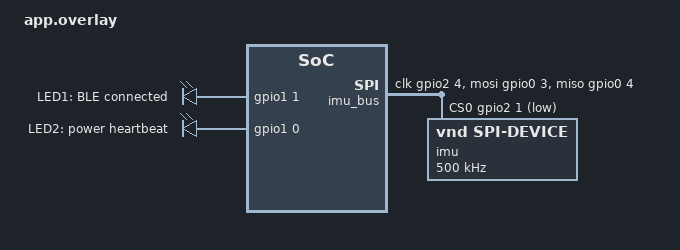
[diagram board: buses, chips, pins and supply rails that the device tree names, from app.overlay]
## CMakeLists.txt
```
cmake_minimum_required(VERSION 3.20.0)
find_package(Zephyr REQUIRED HINTS $ENV{ZEPHYR_BASE})
project(iot_dice_v2)
target_sources(app PRIVATE src/main.cpp src/lsm6dsv320x.cpp src/ble_orient.cpp src/dice_fsm.cpp)
target_link_libraries(app PUBLIC m)
```

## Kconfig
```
mainmenu "IoT Dice v2"
source "Kconfig.zephyr"

config DICE_IMU
    bool
    default y
    select HAS_STMEMSC
    select USE_STDC_LSM6DSV320X
```

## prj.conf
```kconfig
CONFIG_CPP=y
CONFIG_GPIO=y
CONFIG_SPI=y
CONFIG_SPI_BITBANG=y
CONFIG_CLOCK_CONTROL_NRF_K32SRC_RC=y
CONFIG_CLOCK_CONTROL_NRF_K32SRC_RC_CALIBRATION=y
CONFIG_CLOCK_CONTROL_NRF_K32SRC_500PPM=y
CONFIG_NRF_APPROTECT_DISABLE=y

CONFIG_BT=y
CONFIG_BT_PERIPHERAL=y
CONFIG_BT_DEVICE_NAME="dice"
CONFIG_BT_MAX_CONN=1
CONFIG_BT_L2CAP_TX_MTU=120
CONFIG_BT_BUF_ACL_RX_SIZE=126
CONFIG_BT_BUF_ACL_TX_SIZE=126
CONFIG_BT_USER_PHY_UPDATE=y

CONFIG_CONSOLE=y
CONFIG_PRINTK=y
CONFIG_STDOUT_CONSOLE=y
CONFIG_USE_SEGGER_RTT=y
CONFIG_RTT_CONSOLE=y
CONFIG_UART_CONSOLE=n
CONFIG_CBPRINTF_FP_SUPPORT=y
CONFIG_SEGGER_RTT_BUFFER_SIZE_UP=4096
CONFIG_MAIN_STACK_SIZE=4096
CONFIG_HWINFO=y
CONFIG_SERIAL=n

CONFIG_BT_GATT_CLIENT=y
```

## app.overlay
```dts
#include <zephyr/dt-bindings/regulator/nrf5x.h>

/* Dice 2a / KAGA FEI ES4L15BA1. The module pad numbers are not GPIO numbers. */
&led0 { gpios = <&gpio1 1 GPIO_ACTIVE_HIGH>; label = "LED1: BLE connected"; };
&led1 { gpios = <&gpio1 0 GPIO_ACTIVE_HIGH>; label = "LED2: power heartbeat"; };
&led2 { status = "disabled"; };
&led3 { status = "disabled"; };

/* P1.00 and P1.01 are LEDs, so the LF clock must use RC. */
&lfxo {
    status = "disabled";
    load-capacitors = "external";
    /delete-property/ load-capacitance-femtofarad;
};
&vregmain { regulator-initial-mode = <NRF5X_REG_MODE_LDO>; };
&uart20 { status = "disabled"; };
&uart30 { status = "disabled"; };
&spi00 { status = "disabled"; };
&pwm20 { status = "disabled"; };
&nfct { status = "disabled"; };

/ {
    /* P0 data + P2 clock cannot share a hardware SPIM instance on nRF54L15.
     * GPIO SPI keeps the existing board wiring usable without trace cuts. */
    imu_bus: spi-gpio {
        compatible = "zephyr,spi-bitbang";
        status = "okay";
        #address-cells = <1>;
        #size-cells = <0>;
        clk-gpios = <&gpio2 4 GPIO_ACTIVE_HIGH>;
        mosi-gpios = <&gpio0 3 GPIO_ACTIVE_HIGH>;
        miso-gpios = <&gpio0 4 GPIO_ACTIVE_HIGH>;
        cs-gpios = <&gpio2 1 GPIO_ACTIVE_LOW>;
        imu: imu@0 {
            compatible = "vnd,spi-device";
            reg = <0>;
            spi-max-frequency = <500000>;
        };
    };
};
```

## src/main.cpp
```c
#include "lsm6dsv320x.hpp"
#include "ble_orient.hpp"
#include "dice_fsm.hpp"
#include "debug.hpp"
#include <zephyr/drivers/gpio.h>
#include <zephyr/kernel.h>
#include <stdio.h>

extern "C" { volatile AppDebug app_debug = {}; }
static const gpio_dt_spec power_led = GPIO_DT_SPEC_GET(DT_ALIAS(led1), gpios);
static const spi_dt_spec imu_spi = SPI_DT_SPEC_GET(DT_NODELABEL(imu),
    SPI_WORD_SET(8) | SPI_TRANSFER_MSB | SPI_MODE_CPOL | SPI_MODE_CPHA, 0);
static Lsm6dsv320x imu;
static DiceFsm fsm;

static void heartbeat(k_work *work);
K_WORK_DELAYABLE_DEFINE(heartbeat_work, heartbeat);
static void heartbeat(k_work *work)
{
    static bool on = true;
    on = !on;
    gpio_pin_set_dt(&power_led, on);
    app_debug.heartbeat = app_debug.heartbeat + 1;
    k_work_reschedule(&heartbeat_work, K_MSEC(500));
}

int main()
{
    if (gpio_is_ready_dt(&power_led)) {
        gpio_pin_configure_dt(&power_led, GPIO_OUTPUT_ACTIVE);
        k_work_reschedule(&heartbeat_work, K_MSEC(500));
    }
    app_debug.ble_error = BleOrient::init();
    bool ready = false;
    bool previous_simulation = false;
    unsigned decimation = 0;
    float notify_high_peak[3]={}, notify_high_norm2=-1;
    uint32_t notify_high_t=0;
    uint8_t notify_high_sat=0;
    while (true) {
        if (!ready) {
            int rc = imu.begin(&imu_spi);
            app_debug.imu_error = rc;
            app_debug.imu_ready = rc == 0;
            if (rc) {
                printf("LSM6DSV320X init failed: %d, WHO_AM_I=0x%02x\n", rc, (unsigned)app_debug.who_am_i);
                k_msleep(1000);
                continue;
            }
            printf("LSM6DSV320X ready: Low-g/SFLP @120 Hz, High-g +/-320g @960 Hz, gyro +/-4000dps\n");
            ready = true;
            fsm = DiceFsm();
        }
        ImuSample sample;
        int rc = imu.poll(&sample);
        if (rc < 0) {
            app_debug.imu_error = rc;
            app_debug.imu_ready = 0;
            ready = false;
            continue;
        }
        if (rc == 0) { k_msleep(1); continue; }
        app_debug.imu_samples = app_debug.imu_samples + 1;
        // Store individual members because the diagnostic object is volatile.
        app_debug.sample.t_us = sample.t_us;
        app_debug.sample.qx = sample.qx; app_debug.sample.qy = sample.qy;
        app_debug.sample.qz = sample.qz; app_debug.sample.qw = sample.qw;
        app_debug.sample.wx = sample.wx; app_debug.sample.wy = sample.wy; app_debug.sample.wz = sample.wz;
        app_debug.sample.ax = sample.ax; app_debug.sample.ay = sample.ay; app_debug.sample.az = sample.az;
        app_debug.sample.lax=sample.lax;app_debug.sample.lay=sample.lay;app_debug.sample.laz=sample.laz;
        app_debug.sample.hax=sample.hax;app_debug.sample.hay=sample.hay;app_debug.sample.haz=sample.haz;
        app_debug.sample.hpx=sample.hpx;app_debug.sample.hpy=sample.hpy;app_debug.sample.hpz=sample.hpz;
        app_debug.sample.high_peak_t_ms=sample.high_peak_t_ms;app_debug.sample.accel_flags=sample.accel_flags;

        bool simulation = BleOrient::simulationEnabled();
        if (simulation != previous_simulation) {
            fsm = DiceFsm();
            decimation = 0;
            previous_simulation = simulation;
        }
        if (simulation) {
            auto event = fsm.update(sample);
            if (event == DiceFsm::Event::IMPACT) BleOrient::sendImpact(fsm.impact());
            if (event == DiceFsm::Event::RESULT) BleOrient::sendResult(fsm.result());
        }
        if(sample.accel_flags&4) {
            const float norm2=sample.hpx*sample.hpx+sample.hpy*sample.hpy+sample.hpz*sample.hpz;
            if(norm2>notify_high_norm2) {
                notify_high_peak[0]=sample.hpx;notify_high_peak[1]=sample.hpy;notify_high_peak[2]=sample.hpz;
                notify_high_norm2=norm2;notify_high_t=sample.high_peak_t_ms;
            }
        }
        notify_high_sat|=sample.accel_flags&2;
        if (++decimation >= (simulation ? 1 : 2)) {
            decimation = 0;
            ImuSample notify_sample=sample;
            notify_sample.hpx=notify_high_peak[0];notify_sample.hpy=notify_high_peak[1];notify_sample.hpz=notify_high_peak[2];
            notify_sample.high_peak_t_ms=notify_high_t;
            notify_sample.accel_flags=(sample.accel_flags&1)|notify_high_sat|(notify_high_norm2>=0?4:0);
            notify_high_norm2=-1;notify_high_sat=0;
            if (simulation) {
                float velocity[3];
                fsm.velocity(velocity);
                BleOrient::sendStream(notify_sample, fsm.state(), velocity);
            } else BleOrient::sendPose(notify_sample);
        }
    }
}
```

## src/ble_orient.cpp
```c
#include "ble_orient.hpp"
#include "debug.hpp"

#include <zephyr/bluetooth/bluetooth.h>
#include <zephyr/bluetooth/conn.h>
#include <zephyr/bluetooth/gatt.h>
#include <zephyr/bluetooth/uuid.h>
#include <zephyr/drivers/gpio.h>
#include <zephyr/sys/atomic.h>
#include <stdio.h>
#include <string.h>

/* ── UUIDs ──────────────────────────────────────────────────────────────── */

#define BT_UUID_DICE_SVC_VAL \
    BT_UUID_128_ENCODE(0xd1ce0001, 0x1234, 0x5678, 0xabcd, 0x1234567890ab)
#define BT_UUID_DICE_ORIENT_VAL \
    BT_UUID_128_ENCODE(0xd1ce0002, 0x1234, 0x5678, 0xabcd, 0x1234567890ab)
#define BT_UUID_DICE_CMD_VAL \
    BT_UUID_128_ENCODE(0xd1ce0003, 0x1234, 0x5678, 0xabcd, 0x1234567890ab)

static struct bt_uuid_128 svc_uuid    = BT_UUID_INIT_128(BT_UUID_DICE_SVC_VAL);
static struct bt_uuid_128 orient_uuid = BT_UUID_INIT_128(BT_UUID_DICE_ORIENT_VAL);
static struct bt_uuid_128 cmd_uuid    = BT_UUID_INIT_128(BT_UUID_DICE_CMD_VAL);

/* ── packet types ───────────────────────────────────────────────────────── */

static constexpr uint8_t PKT_STREAM = 0x01;
static constexpr uint8_t PKT_IMPACT = 0x02;
static constexpr uint8_t PKT_RESULT = 0x03;

/* ── state ───────────────────────────────────────────────────────────────── */

static const struct gpio_dt_spec led_conn = GPIO_DT_SPEC_GET(DT_ALIAS(led0), gpios);
K_MUTEX_DEFINE(connection_mutex);

static struct bt_conn *active_conn = NULL;
static bool            notify_en   = false;
static atomic_t        simulation_en = ATOMIC_INIT(0);
static uint8_t         last_pkt[100];
static uint16_t        last_pkt_len = 0;

/* ── little-endian pack helpers ─────────────────────────────────────────── */

static inline void put_u32(uint8_t *p, uint32_t v)
{
    p[0] = (uint8_t)v; p[1] = (uint8_t)(v >> 8);
    p[2] = (uint8_t)(v >> 16); p[3] = (uint8_t)(v >> 24);
}

static inline void put_u16(uint8_t *p, uint16_t v)
{
    p[0] = (uint8_t)v; p[1] = (uint8_t)(v >> 8);
}

static inline void put_f32(uint8_t *p, float v)
{
    memcpy(p, &v, 4);
}

static inline void put_quat(uint8_t *p, const ImuSample &s)
{
    put_f32(p + 0,  s.qx); put_f32(p + 4,  s.qy);
    put_f32(p + 8,  s.qz); put_f32(p + 12, s.qw);
}

static void put_accelerometers(uint8_t *pkt,const ImuSample &s)
{
    put_f32(pkt+58,s.lax);put_f32(pkt+62,s.lay);put_f32(pkt+66,s.laz);
    put_f32(pkt+70,s.hax);put_f32(pkt+74,s.hay);put_f32(pkt+78,s.haz);
    pkt[82]=s.accel_flags;pkt[83]=3;
    put_f32(pkt+84,s.hpx);put_f32(pkt+88,s.hpy);put_f32(pkt+92,s.hpz);
    put_u32(pkt+96,s.high_peak_t_ms);
}

/* ── GATT callbacks ─────────────────────────────────────────────────────── */

static ssize_t on_orient_read(struct bt_conn *conn,
                               const struct bt_gatt_attr *attr,
                               void *buf, uint16_t len, uint16_t offset)
{
    k_mutex_lock(&connection_mutex, K_FOREVER);
    ssize_t result = bt_gatt_attr_read(conn, attr, buf, len, offset, last_pkt, last_pkt_len);
    k_mutex_unlock(&connection_mutex);
    return result;
}

static void on_orient_ccc(const struct bt_gatt_attr *attr, uint16_t value)
{
    (void)attr;
    k_mutex_lock(&connection_mutex, K_FOREVER);
    notify_en = (value == BT_GATT_CCC_NOTIFY);
    k_mutex_unlock(&connection_mutex);
    printf("BLE orient notify %s\n", notify_en ? "on" : "off");
}

static ssize_t on_cmd_write(struct bt_conn *conn,
                             const struct bt_gatt_attr *attr,
                             const void *buf, uint16_t len,
                             uint16_t offset, uint8_t flags)
{
    (void)conn; (void)attr; (void)flags;
    if (offset != 0 || len != 1) {
        return BT_GATT_ERR(BT_ATT_ERR_INVALID_ATTRIBUTE_LEN);
    }

    const uint8_t command = *(const uint8_t *)buf;
    if (command > 1) {
        return BT_GATT_ERR(BT_ATT_ERR_VALUE_NOT_ALLOWED);
    }

    atomic_set(&simulation_en, command);
    printf("BLE mode: %s\n", command ? "simulation" : "pose");
    return len;
}

BT_GATT_SERVICE_DEFINE(dice_svc,
    BT_GATT_PRIMARY_SERVICE(&svc_uuid),
    BT_GATT_CHARACTERISTIC(&orient_uuid.uuid,
                           BT_GATT_CHRC_READ | BT_GATT_CHRC_NOTIFY,
                           BT_GATT_PERM_READ,
                           on_orient_read, NULL, NULL),
    BT_GATT_CCC(on_orient_ccc, BT_GATT_PERM_READ | BT_GATT_PERM_WRITE),
    BT_GATT_CHARACTERISTIC(&cmd_uuid.uuid,
                           BT_GATT_CHRC_WRITE_WITHOUT_RESP,
                           BT_GATT_PERM_WRITE,
                           NULL, on_cmd_write, NULL),
);

static void notify(const uint8_t *pkt, uint16_t len)
{
    k_mutex_lock(&connection_mutex, K_FOREVER);
    memcpy(last_pkt, pkt, len < sizeof(last_pkt) ? len : sizeof(last_pkt));
    last_pkt_len = len;
    bt_conn *conn = notify_en && active_conn ? bt_conn_ref(active_conn) : nullptr;
    k_mutex_unlock(&connection_mutex);
    if (conn) {
        uint16_t wire_len=len;
        const uint16_t available=bt_gatt_get_mtu(conn)-3;
        if(wire_len>available && pkt[0]==PKT_STREAM) wire_len=available>=58?58:available>=46?46:22;
        if(wire_len>available && pkt[0]==PKT_IMPACT) wire_len=available>=58?58:50;
        if(wire_len>available && pkt[0]==PKT_RESULT) wire_len=available>=36?36:32;
        int rc = wire_len<=available?bt_gatt_notify(conn, &dice_svc.attrs[2], pkt, wire_len):-EMSGSIZE;
        if (rc == 0) app_debug.notifications = app_debug.notifications + 1;
        else app_debug.ble_error = rc;
        bt_conn_unref(conn);
    }
}

static void mtu_exchanged(struct bt_conn *conn, uint8_t err, struct bt_gatt_exchange_params *params)
{
    (void)params;
    printf("BLE MTU: %u (exchange err=%u)\n", bt_gatt_get_mtu(conn), err);
}
static struct bt_gatt_exchange_params mtu_params={.func=mtu_exchanged};

/* ── BLE connection callbacks ───────────────────────────────────────────── */

static const struct bt_data ad[] = {
    BT_DATA_BYTES(BT_DATA_FLAGS, BT_LE_AD_GENERAL | BT_LE_AD_NO_BREDR),
    BT_DATA(BT_DATA_NAME_COMPLETE,
            CONFIG_BT_DEVICE_NAME, sizeof(CONFIG_BT_DEVICE_NAME) - 1),
    BT_DATA_BYTES(BT_DATA_UUID128_ALL, BT_UUID_DICE_SVC_VAL),
};

static void advertise(k_work *work);
K_WORK_DELAYABLE_DEFINE(advertising_work, advertise);
static void advertise(k_work *work)
{
    int rc = bt_le_adv_start(BT_LE_ADV_CONN_FAST_2, ad, ARRAY_SIZE(ad), NULL, 0);
    if (rc && rc != -EALREADY) {
        app_debug.ble_error = rc;
        k_work_reschedule(&advertising_work, K_MSEC(500));
    }
}

static void on_connected(struct bt_conn *conn, uint8_t err)
{
    if (err) { printf("BLE connect err=%u\n", err); return; }
    k_mutex_lock(&connection_mutex, K_FOREVER);
    active_conn = bt_conn_ref(conn);
    k_mutex_unlock(&connection_mutex);
    app_debug.ble_connected = 1;
    gpio_pin_set_dt(&led_conn, 1);
    printf("BLE connected\n");

    int mtu_rc=bt_gatt_exchange_mtu(conn,&mtu_params);
    if(mtu_rc && mtu_rc!=-EALREADY) printf("BLE MTU request err=%d\n",mtu_rc);
    /* Web Bluetooth cannot set link parameters from the central side, so the
     * peripheral must ask: 7.5–15 ms interval and 2M PHY for low latency.
     * (BT_LE_CONN_PARAM / BT_CONN_LE_PHY_PARAM_* are C compound literals —
     * not valid C++, hence the static structs.) */
    static const struct bt_le_conn_param conn_params = {
        .interval_min = 6,    /* 7.5 ms  */
        .interval_max = 12,   /* 15 ms   */
        .latency      = 0,
        .timeout      = 400,  /* 4 s     */
    };
    static const struct bt_conn_le_phy_param phy_2m = {
        .options     = BT_CONN_LE_PHY_OPT_NONE,
        .pref_tx_phy = BT_GAP_LE_PHY_2M,
        .pref_rx_phy = BT_GAP_LE_PHY_2M,
    };

    int rc = bt_conn_le_param_update(conn, &conn_params);
    if (rc) printf("BLE param update req err=%d\n", rc);

    rc = bt_conn_le_phy_update(conn, &phy_2m);
    if (rc) printf("BLE PHY update req err=%d\n", rc);
}

static void on_disconnected(struct bt_conn *conn, uint8_t reason)
{
    (void)conn;
    printf("BLE disconnected reason=%u\n", reason);
    k_mutex_lock(&connection_mutex, K_FOREVER);
    if (active_conn) bt_conn_unref(active_conn);
    active_conn = NULL;
    notify_en   = false;
    k_mutex_unlock(&connection_mutex);
    app_debug.ble_connected = 0;
    atomic_set(&simulation_en, 0);
    gpio_pin_set_dt(&led_conn, 0);
    k_work_reschedule(&advertising_work, K_MSEC(100));
}

static void on_param_updated(struct bt_conn *conn, uint16_t interval,
                             uint16_t latency, uint16_t timeout)
{
    (void)conn;
    printf("BLE params: interval=%.2fms latency=%u timeout=%ums\n",
           interval * 1.25, latency, timeout * 10);
}

BT_CONN_CB_DEFINE(conn_cbs) = {
    .connected        = on_connected,
    .disconnected     = on_disconnected,
    .le_param_updated = on_param_updated,
};

/* ── namespace implementation ───────────────────────────────────────────── */

namespace BleOrient {

int init()
{
    if (!gpio_is_ready_dt(&led_conn)) return -ENODEV;
    int err = gpio_pin_configure_dt(&led_conn, GPIO_OUTPUT_INACTIVE);
    if (err) return err;

    err = bt_enable(NULL);
    if (err) { printf("BLE enable err=%d\n", err); return err; }

    err = bt_le_adv_start(BT_LE_ADV_CONN_FAST_2, ad, ARRAY_SIZE(ad), NULL, 0);
    if (err) { printf("BLE adv err=%d\n", err); return err; }

    printf("BLE advertising as \"%s\"\n", CONFIG_BT_DEVICE_NAME);
    return 0;
}

bool simulationEnabled()
{
    return atomic_get(&simulation_en) != 0;
}

void sendPose(const ImuSample &s)
{
    uint8_t pkt[100]={};
    pkt[0] = PKT_STREAM;
    pkt[1] = (uint8_t)DiceFsm::State::REST;
    put_u32(&pkt[2], (uint32_t)(s.t_us / 1000));
    put_quat(&pkt[6], s);
    put_f32(&pkt[22], s.wx); put_f32(&pkt[26], s.wy); put_f32(&pkt[30], s.wz);
    put_f32(&pkt[34], s.ax); put_f32(&pkt[38], s.ay); put_f32(&pkt[42], s.az);
    put_f32(&pkt[46],0);put_f32(&pkt[50],0);put_f32(&pkt[54],0);
    put_accelerometers(pkt,s);
    notify(pkt, sizeof(pkt));
}

void sendStream(const ImuSample &s, DiceFsm::State state, const float v[3])
{
    uint8_t pkt[100]={};
    pkt[0] = PKT_STREAM;
    pkt[1] = (uint8_t)state;
    put_u32(&pkt[2], (uint32_t)(s.t_us / 1000));
    put_quat(&pkt[6], s);
    put_f32(&pkt[22], s.wx); put_f32(&pkt[26], s.wy); put_f32(&pkt[30], s.wz);
    put_f32(&pkt[34], s.ax); put_f32(&pkt[38], s.ay); put_f32(&pkt[42], s.az);
    put_f32(&pkt[46], v[0]); put_f32(&pkt[50], v[1]); put_f32(&pkt[54], v[2]);
    put_accelerometers(pkt,s);
    notify(pkt, sizeof(pkt));
}

void sendImpact(const DiceFsm::ImpactInfo &info)
{
    uint8_t pkt[76]={};
    pkt[0] = PKT_IMPACT;
    pkt[1] = 3;
    put_u32(&pkt[2], info.t_ms);
    put_quat(&pkt[6], info.pre);
    put_f32(&pkt[22], info.pre.wx); put_f32(&pkt[26], info.pre.wy);
    put_f32(&pkt[30], info.pre.wz);
    put_f32(&pkt[34], info.vx); put_f32(&pkt[38], info.vy);
    put_f32(&pkt[42], info.vz);
    put_u16(&pkt[46], info.fall_ms);
    pkt[48] = info.gyro_sat;
    pkt[49] = info.acc_sat;
    put_u32(&pkt[50], (uint32_t)(info.pre.t_us / 1000));
    put_u32(&pkt[54], info.throw_id);
    for(unsigned i=0;i<3;i++) put_f32(&pkt[58+4*i],info.high_peak[i]);
    put_u32(&pkt[70],info.high_peak_t_ms);pkt[74]=info.high_saturated;
    notify(pkt, sizeof(pkt));
}

void sendResult(const DiceFsm::ResultInfo &info)
{
    uint8_t pkt[44]={};
    pkt[0] = PKT_RESULT;
    pkt[1] = 3;
    put_u32(&pkt[2], info.t_ms);
    put_quat(&pkt[6], info.rest);
    put_f32(&pkt[22], info.max_w);
    put_f32(&pkt[26], info.max_a);
    pkt[30] = info.gyro_sat;
    pkt[31] = info.acc_sat;
    put_u32(&pkt[32], info.throw_id);
    put_f32(&pkt[36],info.max_high_g);pkt[40]=info.high_sat;
    notify(pkt, sizeof(pkt));
}

} // namespace BleOrient
```

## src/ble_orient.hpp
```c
#pragma once

#include "imu_sample.hpp"
#include "dice_fsm.hpp"

/*
 * BLE notify protocol — single characteristic, first byte = packet type.
 * All multi-byte fields little-endian.
 *
 * 0x01 POSE (100 B, protocol v3 normal mode) — orientation and motion, approximately 60 Hz
 *   [0]      type
 *   [1]      state = REST
 *   [2..5]   t_ms      u32  uptime
 *   [6..21]  qx qy qz qw    f32×4
 *   [22..33] wx wy wz       f32×3  rad/s (body, bias corrected)
 *   [34..45] ax ay az       f32×3  m/s²  (body, gravity-removed)
 *
 * 0x01 STREAM (100 B, protocol v3) — 120 Hz live stream for visualization/recording
 *   [0]      type
 *   [1]      fsm state (DiceFsm::State)
 *   [2..5]   t_ms      u32  uptime
 *   [6..21]  qx qy qz qw    f32×4
 *   [22..33] wx wy wz       f32×3  rad/s (body)
 *   [34..45] ax ay az       f32×3  m/s²  (body, gravity-removed)
 *   [46..57] vx vy vz       f32×3  m/s   (world, integrated; 0 in POSE)
 *   [58..69] low-g raw xyz  f32×3  m/s²  (body, includes gravity)
 *   [70..81] high-g raw xyz f32×3  m/s²  (latest 960 Hz sample)
 *   [82]     flags: bit0 high valid, bit1 high saturated, bit2 peak valid
 *   [83]     protocol version = 3
 *   [84..95] high-g peak xyz f32×3 (largest norm over the notification interval)
 *   [96..99] high-g peak FIFO dequeue uptime in ms (not acquisition timestamp)
 *
 * 0x02 IMPACT (76 B) — sent immediately on first table contact;
 *                       carries the PRE-impact state to seed the simulation
 *   [0]      type
 *   [1]      protocol version = 3
 *   [2..5]   t_ms      u32  impact time
 *   [6..21]  q (pre-impact)
 *   [22..33] w (pre-impact, body)
 *   [34..45] v (pre-impact, world)
 *   [46..47] fall_ms   u16
 *   [48]     gyro_sat  u8
 *   [49]     acc_sat   u8
 *   [50..53] pre_t_ms  u32  timestamp of q/w/v
 *   [54..57] throw_id  u32  matches RESULT
 *   [58..69] high-g peak xyz f32×3  m/s² (collision diagnostics, not inference input)
 *   [70..73] high-g peak FIFO dequeue uptime ms
 *   [74]     high saturated u8
 *   [75]     reserved
 *
 * 0x03 RESULT (44 B) — sent when the die settles; ground-truth label source
 *   [0]      type
 *   [1]      protocol version = 3
 *   [2..5]   t_ms      u32
 *   [6..21]  q (rest)
 *   [22..25] max |ω|   f32
 *   [26..29] max |a|   f32
 *   [30]     gyro_sat  u8
 *   [31]     acc_sat   u8
 *   [32..35] throw_id  u32
 *   [36..39] maximum high-g norm f32 m/s²
 *   [40]     high-g saturated sample-window count u8
 *   [41..43] reserved
 *
 * Legacy POSE 22/46, STREAM 58, IMPACT 50/58, RESULT 32/36 remain readable.
 * Firmware sends a shorter legacy prefix if the negotiated MTU is too small.
 */

namespace BleOrient {

int init();

bool simulationEnabled();
void sendPose(const ImuSample &s);
void sendStream(const ImuSample &s, DiceFsm::State state, const float v[3]);
void sendImpact(const DiceFsm::ImpactInfo &info);
void sendResult(const DiceFsm::ResultInfo &info);

} // namespace BleOrient
```

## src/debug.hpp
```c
#pragma once
#include "imu_sample.hpp"
#include <stdint.h>

// Readable over SWD without stopping the BLE radio or IMU.
struct AppDebug {
    uint32_t heartbeat;
    uint32_t who_am_i;
    int32_t imu_error;
    uint32_t imu_ready;
    uint32_t imu_samples;
    int32_t ble_error;
    uint32_t ble_connected;
    uint32_t notifications;
    uint32_t fifo_overruns;
    ImuSample sample;
    uint32_t high_g_samples;
};
extern "C" { extern volatile AppDebug app_debug; }
```

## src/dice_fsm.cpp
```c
#include "dice_fsm.hpp"

#include <math.h>

/* ── helpers ────────────────────────────────────────────────────────────── */

void DiceFsm::rotateBodyToWorld(const ImuSample &s,
                                float bx, float by, float bz,
                                float *wx, float *wy, float *wz)
{
    /* v_world = q · v_body · q⁻¹ */
    const float qx = s.qx, qy = s.qy, qz = s.qz, qw = s.qw;

    /* t = 2 (q_vec × v) */
    const float tx = 2.0f * (qy * bz - qz * by);
    const float ty = 2.0f * (qz * bx - qx * bz);
    const float tz = 2.0f * (qx * by - qy * bx);

    /* v' = v + qw·t + q_vec × t */
    *wx = bx + qw * tx + (qy * tz - qz * ty);
    *wy = by + qw * ty + (qz * tx - qx * tz);
    *wz = bz + qw * tz + (qx * ty - qy * tx);
}

void DiceFsm::integrate(const ImuSample &s, float dt)
{
    /* a_lin is body-frame and gravity-removed → R(q)·a_lin is the true
     * world-frame acceleration, including the −g of free fall. */
    float awx, awy, awz;
    rotateBodyToWorld(s, s.ax, s.ay, s.az, &awx, &awy, &awz);
    vx_ += awx * dt;
    vy_ += awy * dt;
    vz_ += awz * dt;
}

void DiceFsm::resetThrowStats()
{
    gyro_sat_ = 0;
    acc_sat_  = 0;
    max_w_    = 0;
    max_a_    = 0;
    max_high_g_ = 0; high_sat_=0;
}

static inline uint8_t clamp_u8(uint32_t v)
{
    return v > 255 ? 255 : (uint8_t)v;
}

/* ── update ─────────────────────────────────────────────────────────────── */

DiceFsm::Event DiceFsm::update(const ImuSample &s)
{
    const float w_norm = sqrtf(s.wx * s.wx + s.wy * s.wy + s.wz * s.wz);
    const float a_norm = sqrtf(s.ax * s.ax + s.ay * s.ay + s.az * s.az);
    const bool have_high_peak=(s.accel_flags&4)!=0;
    const float high_norm=have_high_peak?sqrtf(s.hpx*s.hpx+s.hpy*s.hpy+s.hpz*s.hpz):0;
    // Raw high-g includes gravity. Subtract the matching low-g gravity estimate
    // for shock detection; retain low-g motion/quietness for state transitions.
    const float hx=s.hpx-(s.lax-s.ax), hy=s.hpy-(s.lay-s.ay), hz=s.hpz-(s.laz-s.az);
    const float shock=have_high_peak?fmaxf(a_norm,sqrtf(hx*hx+hy*hy+hz*hz)):a_norm;

    float dt = 0.0f;
    if (have_prev_) {
        dt = (float)(s.t_us - prev_t_us_) * 1e-6f;
        if (dt < 0.0f || dt > 0.05f) dt = 0.0f;   /* gap → skip integration */
    }
    prev_t_us_ = s.t_us;
    have_prev_ = true;

    /* ── stillness tracking (shared by all states) ── */
    const bool still = (w_norm < STILL_W) && (a_norm < STILL_A);
    if (still) {
        if (still_since_us_ == 0) still_since_us_ = s.t_us;
    } else {
        still_since_us_ = 0;
    }
    const bool settled = still_since_us_ != 0 &&
                         (s.t_us - still_since_us_) >= (uint64_t)STILL_MS * 1000;

    /* ── saturation / peak tracking while a throw is in progress ── */
    if (state_ != State::REST) {
        const bool gsat = fabsf(s.wx) > GYRO_SAT || fabsf(s.wy) > GYRO_SAT ||
                          fabsf(s.wz) > GYRO_SAT;
        if (gsat) gyro_sat_++;
        if (a_norm > ACC_SAT) acc_sat_++;
        if (w_norm > max_w_) max_w_ = w_norm;
        if (a_norm > max_a_) max_a_ = a_norm;
        if (high_norm>max_high_g_) max_high_g_=high_norm;
        if(s.accel_flags&2) ++high_sat_;
        integrate(s, dt);
    }

    /* ── ring buffer of recent state (for pre-impact lookback) ── */
    ring_[ring_head_] = { s, vx_, vy_, vz_ };
    const int written = ring_head_;
    ring_head_ = (ring_head_ + 1) % RING_SIZE;
    if (ring_fill_ < RING_SIZE) ring_fill_++;

    Event ev = Event::NONE;

    switch (state_) {

    case State::REST:
        vx_ = vy_ = vz_ = 0.0f;
        if (!still) {
            state_ = State::MOVING;
            resetThrowStats();
            ff_count_ = 0;
        }
        break;

    case State::MOVING:
        if (settled) {
            /* picked up and put back down — not a throw */
            state_ = State::REST;
            vx_ = vy_ = vz_ = 0.0f;
            break;
        }
        /* free-fall: linear accel (gravity-removed) has norm ≈ g */
        if (fabsf(a_norm - G) < FREEFALL_BAND) {
            if (++ff_count_ >= FREEFALL_N) {
                state_        = State::FREEFALL;
                ff_start_us_  = s.t_us - (uint64_t)(FREEFALL_N - 1) * (dt > 0 ? (uint64_t)(dt * 1e6f) : 8333);
                ff_exit_count_ = 0;
            }
        } else {
            ff_count_ = 0;
        }
        break;

    case State::FREEFALL:
        if (shock > IMPACT_A) {
            /* ── first table contact ── */
            // Use timestamps rather than assuming an IMU/FIFO sample rate.
            int back = 1;
            while (back < ring_fill_ - 1 &&
                   s.t_us - ring_[(written - back + RING_SIZE) % RING_SIZE].s.t_us < PRE_IMPACT_US) ++back;
            if (back > ring_fill_ - 1) back = ring_fill_ - 1;
            const RingEntry &pre =
                ring_[(written - back + RING_SIZE) % RING_SIZE];

            impact_.pre      = pre.s;
            impact_.vx       = pre.vx;
            impact_.vy       = pre.vy;
            impact_.vz       = pre.vz;
            impact_.fall_ms  = (uint16_t)((s.t_us - ff_start_us_) / 1000);
            impact_.gyro_sat = clamp_u8(gyro_sat_);
            impact_.acc_sat  = clamp_u8(acc_sat_);
            impact_.t_ms     = (uint32_t)(s.t_us / 1000);
            impact_.throw_id = ++throw_counter_;
            impact_.high_peak[0]=s.hpx;impact_.high_peak[1]=s.hpy;impact_.high_peak[2]=s.hpz;
            impact_.high_peak_t_ms=s.high_peak_t_ms;impact_.high_saturated=(s.accel_flags&2)?1:0;

            state_ = State::TUMBLING;
            ev = Event::IMPACT;
        } else if (fabsf(a_norm - G) >= FREEFALL_BAND) {
            /* left the free-fall band without a spike → caught in hand */
            if (++ff_exit_count_ >= FREEFALL_EXIT_N) {
                state_    = State::MOVING;
                ff_count_ = 0;
            }
        } else {
            ff_exit_count_ = 0;
        }
        break;

    case State::TUMBLING:
        if (settled) {
            result_.rest     = s;
            result_.max_w    = max_w_;
            result_.max_a    = max_a_;
            result_.gyro_sat = clamp_u8(gyro_sat_);
            result_.acc_sat  = clamp_u8(acc_sat_);
            result_.t_ms     = (uint32_t)(s.t_us / 1000);
            result_.throw_id = impact_.throw_id;
            result_.max_high_g=max_high_g_;result_.high_sat=clamp_u8(high_sat_);

            state_ = State::REST;
            vx_ = vy_ = vz_ = 0.0f;
            ev = Event::RESULT;
        }
        break;
    }

    return ev;
}
```

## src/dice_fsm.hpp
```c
#pragma once

#include "imu_sample.hpp"

#include <stdint.h>

/*
 * Throw state machine running on every IMU sample.
 *
 *   REST ──motion──▶ MOVING ──|a_lin|≈g──▶ FREEFALL ──spike──▶ TUMBLING ──still──▶ REST
 *     ▲                 │                      │                                     │
 *     └────still────────┘◀──────accel leaves free-fall band without impact──────────┘
 *
 * While not at REST the world-frame translational velocity is integrated from
 * the gravity-removed linear acceleration rotated by the orientation
 * quaternion (a_world = R(q)·a_lin, valid through free fall as well).
 * The integration anchor (v = 0) is the last REST period, so the velocity at
 * impact includes the hand motion imparted before release.
 *
 * On IMPACT the caller gets the sample from a few entries back in the ring
 * buffer — the impact shock corrupts both the fusion and the accelerometer,
 * so the simulation must be seeded with the *pre*-impact state.
 */
class DiceFsm {
public:
    enum class State : uint8_t {
        REST     = 0,
        MOVING   = 1,
        FREEFALL = 2,
        TUMBLING = 3,
    };

    enum class Event : uint8_t {
        NONE,
        IMPACT,   /* first table contact detected — impact() is valid   */
        RESULT,   /* die settled after a throw    — result() is valid   */
    };

    struct ImpactInfo {
        ImuSample pre;        /* sample at least 15 ms before the spike, if available */
        float    vx, vy, vz;       /* world-frame velocity at that sample (m/s)       */
        uint16_t fall_ms;          /* free-fall duration up to impact                 */
        uint8_t  gyro_sat;         /* saturated gyro samples this throw (clamped 255) */
        uint8_t  acc_sat;          /* saturated accel samples this throw              */
        uint32_t t_ms;             /* impact time (uptime ms)                         */
        uint32_t throw_id;
        float high_peak[3];
        uint32_t high_peak_t_ms;
        uint8_t high_saturated;
    };

    struct ResultInfo {
        ImuSample rest;       /* settled orientation → ground-truth face label   */
        float    max_w;            /* peak |ω| during the throw (rad/s)               */
        float    max_a;            /* peak |a_lin| during the throw (m/s²)            */
        uint8_t  gyro_sat;
        uint8_t  acc_sat;
        uint32_t t_ms;
        uint32_t throw_id;
        float max_high_g;
        uint8_t high_sat;
    };

    Event update(const ImuSample &s);

    State state() const { return state_; }
    const ImpactInfo &impact() const { return impact_; }
    const ResultInfo &result() const { return result_; }
    void velocity(float v[3]) const { v[0] = vx_; v[1] = vy_; v[2] = vz_; }

private:
    /* ── thresholds ─────────────────────────────────────────────────────── */
    static constexpr float STILL_W        = 0.30f;   /* rad/s               */
    static constexpr float STILL_A        = 0.60f;   /* m/s²                */
    static constexpr uint32_t STILL_MS    = 300;     /* sustained stillness */
    static constexpr float G              = 9.81f;   /* m/s²                */
    static constexpr float FREEFALL_BAND  = 2.5f;    /* | |a|−g | < band    */
    static constexpr int   FREEFALL_N     = 3;       /* consecutive samples */
    static constexpr int   FREEFALL_EXIT_N = 5;      /* leave band → caught */
    static constexpr float IMPACT_A       = 20.0f;   /* m/s² spike          */
    /* LSM6DSV320X configured limits: gyro ±4000 dps, accel ±16 g.
     * Count samples just inside the rail as saturated. */
    static constexpr float GYRO_SAT       = 67.0f;   /* rad/s (≈3840 dps)   */
    static constexpr float ACC_SAT        = 150.0f;   /* m/s²  (≈15.3 g)      */
    static constexpr uint64_t PRE_IMPACT_US = 15000;

    static constexpr int RING_SIZE = 8;

    struct RingEntry {
        ImuSample s;
        float vx, vy, vz;
    };

    void resetThrowStats();
    void integrate(const ImuSample &s, float dt);
    static void rotateBodyToWorld(const ImuSample &s,
                                  float bx, float by, float bz,
                                  float *wx, float *wy, float *wz);

    State    state_       = State::REST;
    float    vx_ = 0, vy_ = 0, vz_ = 0;
    uint64_t prev_t_us_   = 0;
    uint64_t still_since_us_ = 0;     /* 0 = currently not still            */
    bool     have_prev_   = false;

    int      ff_count_    = 0;
    int      ff_exit_count_ = 0;
    uint64_t ff_start_us_ = 0;

    uint32_t gyro_sat_    = 0;
    uint32_t acc_sat_     = 0;
    float    max_w_       = 0;
    float    max_a_       = 0;
    float max_high_g_ = 0;
    uint32_t high_sat_ = 0;

    RingEntry ring_[RING_SIZE] = {};
    int       ring_head_ = 0;        /* next write position                 */
    int       ring_fill_ = 0;

    ImpactInfo impact_ = {};
    ResultInfo result_ = {};
    uint32_t throw_counter_ = 0;
};
```

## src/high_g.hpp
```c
#pragma once
#include <stdint.h>
#include <math.h>
#include <lsm6dsv320x_reg.h>

// Capture every high-g FIFO entry, retaining a signed vector at the largest norm.
class HighGWindow {
public:
    float latest[3] = {}, peak[3] = {};
    uint32_t peak_t_ms = 0;
    uint32_t samples = 0;
    bool valid = false, peak_valid = false, saturated = false;
    void push(const uint8_t data[6], uint32_t t_ms) {
        bool sat=false;
        for(unsigned i=0;i<3;i++) {
            const int16_t raw=(int16_t)((uint16_t)data[2*i]|((uint16_t)data[2*i+1]<<8));
            latest[i]=lsm6dsv320x_from_fs320_to_mg(raw)*0.00980665f;
            sat=sat||fabsf(latest[i])>=320.0f*0.98f*9.80665f;
        }
        const float norm2=latest[0]*latest[0]+latest[1]*latest[1]+latest[2]*latest[2];
        if(!peak_valid || norm2>peak[0]*peak[0]+peak[1]*peak[1]+peak[2]*peak[2]) {
            for(unsigned i=0;i<3;i++) peak[i]=latest[i];
            peak_t_ms=t_ms;
        }
        saturated=saturated||sat;valid=true;peak_valid=true;++samples;
    }
    uint8_t flags() const {return (valid?1:0)|(saturated?2:0)|(peak_valid?4:0);}
    void clearPeak() {peak_valid=false;saturated=false;}
};
```

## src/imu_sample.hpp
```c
#pragma once
#include <stdint.h>

struct ImuSample {
    uint64_t t_us;
    float qx, qy, qz, qw;  // Body-to-world quaternion, world Z up.
    float wx, wy, wz;      // Body angular velocity, rad/s.
    float ax, ay, az;      // Body linear acceleration, gravity removed, m/s².
    float lax, lay, laz;   // Low-g raw acceleration, gravity included, m/s².
    float hax, hay, haz;   // Latest high-g raw acceleration, gravity included, m/s².
    float hpx, hpy, hpz;   // Highest-norm high-g vector since the previous fusion sample.
    uint32_t high_peak_t_ms; // FIFO dequeue uptime, not sensor acquisition timestamp.
    uint8_t accel_flags;   // bit0 high valid, bit1 high saturated, bit2 peak valid.
};
```

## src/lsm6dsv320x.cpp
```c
#include "lsm6dsv320x.hpp"
#include "debug.hpp"
#include <zephyr/kernel.h>
#include <errno.h>
#include <math.h>
#include <string.h>

static constexpr float MG_TO_MS2 = 0.00980665f;
static constexpr float MDPS_TO_RADS = 0.00001745329252f;

static uint16_t word(const uint8_t *data)
{
    return (uint16_t)data[0] | ((uint16_t)data[1] << 8);
}

int32_t Lsm6dsv320x::read(void *handle, uint8_t reg, uint8_t *data, uint16_t len)
{
    const auto *spi = static_cast<const spi_dt_spec *>(handle);
    uint8_t command = reg | 0x80;
    const spi_buf tx[] = {{&command, 1}, {nullptr, len}};
    const spi_buf rx[] = {{nullptr, 1}, {data, len}};
    const spi_buf_set tx_set = {tx, 2}, rx_set = {rx, 2};
    return spi_transceive_dt(spi, &tx_set, &rx_set);
}

int32_t Lsm6dsv320x::write(void *handle, uint8_t reg, const uint8_t *data, uint16_t len)
{
    const auto *spi = static_cast<const spi_dt_spec *>(handle);
    const spi_buf tx[] = {{&reg, 1}, {const_cast<uint8_t *>(data), len}};
    const spi_buf_set tx_set = {tx, 2};
    return spi_write_dt(spi, &tx_set);
}

void Lsm6dsv320x::delay(uint32_t ms) { k_msleep(ms); }

int Lsm6dsv320x::begin(const spi_dt_spec *spi)
{
    if (!spi_is_ready_dt(spi)) return -ENODEV;
    ctx_ = {};
    ctx_.read_reg = read;
    ctx_.write_reg = write;
    ctx_.mdelay = delay;
    ctx_.handle = const_cast<spi_dt_spec *>(spi);
    cache_ = {};
    valid_ = 0;
    quaternion_.reset();
    high_=HighGWindow();high_discard_=2;
    memset(accel_, 0, sizeof(accel_));
    memset(gravity_, 0, sizeof(gravity_));
    memset(bias_, 0, sizeof(bias_));
    memset(gyro_, 0, sizeof(gyro_));
    delay(20);
    uint8_t id = 0;
    int rc = lsm6dsv320x_device_id_get(&ctx_, &id);
    app_debug.who_am_i = id;
    if (rc) return rc;
    if (id != LSM6DSV320X_ID) return -ENODEV;

    // ST's SFLP sequence, with all FIFO data at 120 Hz for coherent samples.
    // https://github.com/STMicroelectronics/STMems_Standard_C_drivers/blob/master/lsm6dsv320x_STdC/examples/lsm6dsv320x_sensor_fusion.c
#define CHECK(call) do { rc = (call); if (rc) return rc; } while (0)
    CHECK(lsm6dsv320x_sw_por(&ctx_));
    CHECK(lsm6dsv320x_auto_increment_set(&ctx_, 1));
    CHECK(lsm6dsv320x_block_data_update_set(&ctx_, 1));
    CHECK(lsm6dsv320x_xl_full_scale_set(&ctx_, LSM6DSV320X_16g));
    CHECK(lsm6dsv320x_gy_full_scale_set(&ctx_, LSM6DSV320X_4000dps));
    CHECK(lsm6dsv320x_fifo_mode_set(&ctx_, LSM6DSV320X_BYPASS_MODE));
    CHECK(lsm6dsv320x_fifo_xl_batch_set(&ctx_, LSM6DSV320X_XL_BATCHED_AT_120Hz));
    CHECK(lsm6dsv320x_fifo_gy_batch_set(&ctx_, LSM6DSV320X_GY_BATCHED_AT_120Hz));
    CHECK(lsm6dsv320x_hg_xl_full_scale_set(&ctx_, LSM6DSV320X_320g));
    CHECK(lsm6dsv320x_fifo_hg_xl_batch_set(&ctx_, 1));
    CHECK(lsm6dsv320x_hg_xl_data_rate_set(&ctx_, LSM6DSV320X_HG_XL_ODR_AT_960Hz, 0));
    lsm6dsv320x_hg_xl_full_scale_t high_scale;
    lsm6dsv320x_hg_xl_data_rate_t high_rate;
    uint8_t high_output, high_batch;
    CHECK(lsm6dsv320x_hg_xl_full_scale_get(&ctx_, &high_scale));
    CHECK(lsm6dsv320x_hg_xl_data_rate_get(&ctx_, &high_rate, &high_output));
    CHECK(lsm6dsv320x_fifo_hg_xl_batch_get(&ctx_, &high_batch));
    if(high_scale!=LSM6DSV320X_320g || high_rate!=LSM6DSV320X_HG_XL_ODR_AT_960Hz || !high_batch) return -EIO;
    lsm6dsv320x_fifo_sflp_raw_t fusion = {};
    fusion.game_rotation = 1;
    fusion.gravity = 1;
    fusion.gbias = 1;
    CHECK(lsm6dsv320x_fifo_sflp_batch_set(&ctx_, fusion));
    CHECK(lsm6dsv320x_xl_data_rate_set(&ctx_, LSM6DSV320X_ODR_AT_120Hz));
    CHECK(lsm6dsv320x_gy_data_rate_set(&ctx_, LSM6DSV320X_ODR_AT_120Hz));
    CHECK(lsm6dsv320x_sflp_data_rate_set(&ctx_, LSM6DSV320X_SFLP_120Hz));
    CHECK(lsm6dsv320x_sflp_game_rotation_set(&ctx_, 1));
    lsm6dsv320x_sflp_gbias_t bias = {};
    CHECK(lsm6dsv320x_sflp_game_gbias_set(&ctx_, &bias));
    CHECK(lsm6dsv320x_fifo_mode_set(&ctx_, LSM6DSV320X_STREAM_MODE));
#undef CHECK
    return 0;
}

int Lsm6dsv320x::poll(ImuSample *sample)
{
    lsm6dsv320x_fifo_status_t status = {};
    int rc = lsm6dsv320x_fifo_status_get(&ctx_, &status);
    if (rc) return rc;
    if (status.fifo_ovr) {
        app_debug.fifo_overruns = app_debug.fifo_overruns + 1;
        return -EOVERFLOW; // Reset FIFO/fusion rather than using stale throw data.
    }
    // Bound each drain so BLE and the heartbeat work can keep running.
    const unsigned count = status.fifo_level < 32 ? status.fifo_level : 32;
    for (unsigned n = 0; n < count; ++n) {
        lsm6dsv320x_fifo_out_raw_t row = {};
        rc = lsm6dsv320x_fifo_out_raw_get(&ctx_, &row);
        if (rc) return rc;
        switch (row.tag) {
        case lsm6dsv320x_fifo_out_raw_t::LSM6DSV320X_XL_NC_TAG:
            for (unsigned i = 0; i < 3; ++i)
                accel_[i] = lsm6dsv320x_from_fs16_to_mg((int16_t)word(row.data + 2*i)) * MG_TO_MS2;
            valid_ |= 1;
            break;
        case lsm6dsv320x_fifo_out_raw_t::LSM6DSV320X_XL_HG_TAG:
            if(high_discard_) {--high_discard_;break;}
            high_.push(row.data, (uint32_t)k_uptime_get());
            app_debug.high_g_samples=app_debug.high_g_samples+1;
            break;
        case lsm6dsv320x_fifo_out_raw_t::LSM6DSV320X_GY_NC_TAG:
            for (unsigned i = 0; i < 3; ++i)
                gyro_[i] = lsm6dsv320x_from_fs4000_to_mdps((int16_t)word(row.data + 2*i)) * MDPS_TO_RADS;
            valid_ |= 2;
            break;
        case lsm6dsv320x_fifo_out_raw_t::LSM6DSV320X_SFLP_GRAVITY_VECTOR_TAG:
            for (unsigned i = 0; i < 3; ++i)
                gravity_[i] = lsm6dsv320x_from_sflp_to_mg((int16_t)word(row.data + 2*i)) * MG_TO_MS2;
            valid_ |= 4;
            break;
        case lsm6dsv320x_fifo_out_raw_t::LSM6DSV320X_SFLP_GYROSCOPE_BIAS_TAG:
            for (unsigned i = 0; i < 3; ++i)
                bias_[i] = lsm6dsv320x_from_fs125_to_mdps((int16_t)word(row.data + 2*i)) * MDPS_TO_RADS;
            break;
        case lsm6dsv320x_fifo_out_raw_t::LSM6DSV320X_SFLP_GAME_ROTATION_VECTOR_TAG: {
            float q[4];
            rc = quaternion_.push(row.data, q);
            if (rc < 0) return rc;
            if (rc == 0) break;
            cache_.qx = q[0]; cache_.qy = q[1];
            cache_.qz = q[2]; cache_.qw = q[3];
            if (valid_ != 7) break;
            cache_.t_us = k_ticks_to_us_floor64(k_uptime_ticks());
            cache_.wx = gyro_[0] - bias_[0];
            cache_.wy = gyro_[1] - bias_[1];
            cache_.wz = gyro_[2] - bias_[2];
            cache_.ax = accel_[0] - gravity_[0];
            cache_.ay = accel_[1] - gravity_[1];
            cache_.az = accel_[2] - gravity_[2];
            cache_.lax=accel_[0];cache_.lay=accel_[1];cache_.laz=accel_[2];
            cache_.hax=high_.latest[0];cache_.hay=high_.latest[1];cache_.haz=high_.latest[2];
            cache_.hpx=high_.peak[0];cache_.hpy=high_.peak[1];cache_.hpz=high_.peak[2];
            cache_.high_peak_t_ms=high_.peak_t_ms;cache_.accel_flags=high_.flags();
            high_.clearPeak();
            *sample = cache_;
            return 1;
        }
        default: break;
        }
    }
    return 0;
}
```

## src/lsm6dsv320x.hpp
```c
#pragma once
#include "imu_sample.hpp"
#include "sflp_fifo.hpp"
#include "high_g.hpp"
#include <zephyr/drivers/spi.h>
#include <lsm6dsv320x_reg.h>

class Lsm6dsv320x {
public:
    int begin(const spi_dt_spec *spi);
    // Returns 1 for a complete fusion sample, 0 when FIFO is empty, or -errno.
    int poll(ImuSample *sample);

private:
    static int32_t read(void *handle, uint8_t reg, uint8_t *data, uint16_t len);
    static int32_t write(void *handle, uint8_t reg, const uint8_t *data, uint16_t len);
    static void delay(uint32_t ms);
    stmdev_ctx_t ctx_ = {};
    ImuSample cache_ = {};
    float accel_[3] = {};
    float gravity_[3] = {};
    float bias_[3] = {};
    float gyro_[3] = {};
    uint8_t valid_ = 0;
    SflpQuaternion quaternion_;
    HighGWindow high_;
    unsigned high_discard_=2;
};
```

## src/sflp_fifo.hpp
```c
#pragma once
#include <lsm6dsv320x_reg.h>
#include <errno.h>
#include <math.h>
#include <string.h>

// LSM6DSV320X SFLP FIFO: [0x0000, X, Y], then [0x0001, Z, W].
// All four components are signed IEEE-754 binary16, including W.
// ST reference: lsm6dsv320x_STdC/examples/lsm6dsv320x_read_fifo.c
class SflpQuaternion {
public:
    void reset() { have_xy_ = false; }

    // One output per pair. An orphan second record is discarded.
    int push(const uint8_t data[6], float xyzw[4])
    {
        const uint16_t part = word(data);
        if (part == 0) {
            x_ = half(word(data + 2));
            y_ = half(word(data + 4));
            have_xy_ = isfinite(x_) && isfinite(y_);
            return have_xy_ ? 0 : -EBADMSG;
        }
        if (part != 1) { reset(); return -EBADMSG; }
        if (!have_xy_) return 0;
        reset();
        const float z = half(word(data + 2));
        const float w = half(word(data + 4));
        const float norm2 = x_*x_ + y_*y_ + z*z + w*w;
        // A valid unit quaternion only differs by binary16 rounding.
        if (!isfinite(norm2) || norm2 < 0.5f || norm2 > 1.5f) return -EBADMSG;
        const float scale = 1.0f / sqrtf(norm2);
        xyzw[0] = x_*scale; xyzw[1] = y_*scale;
        xyzw[2] = z*scale; xyzw[3] = w*scale;
        return 1;
    }

private:
    static uint16_t word(const uint8_t *p) { return p[0] | ((uint16_t)p[1] << 8); }
    static float half(uint16_t value)
    {
        const uint32_t bits = lsm6dsv320x_from_f16_to_f32(value);
        float result;
        memcpy(&result, &bits, sizeof(result));
        return result;
    }
    float x_ = 0, y_ = 0;
    bool have_xy_ = false;
};
```
